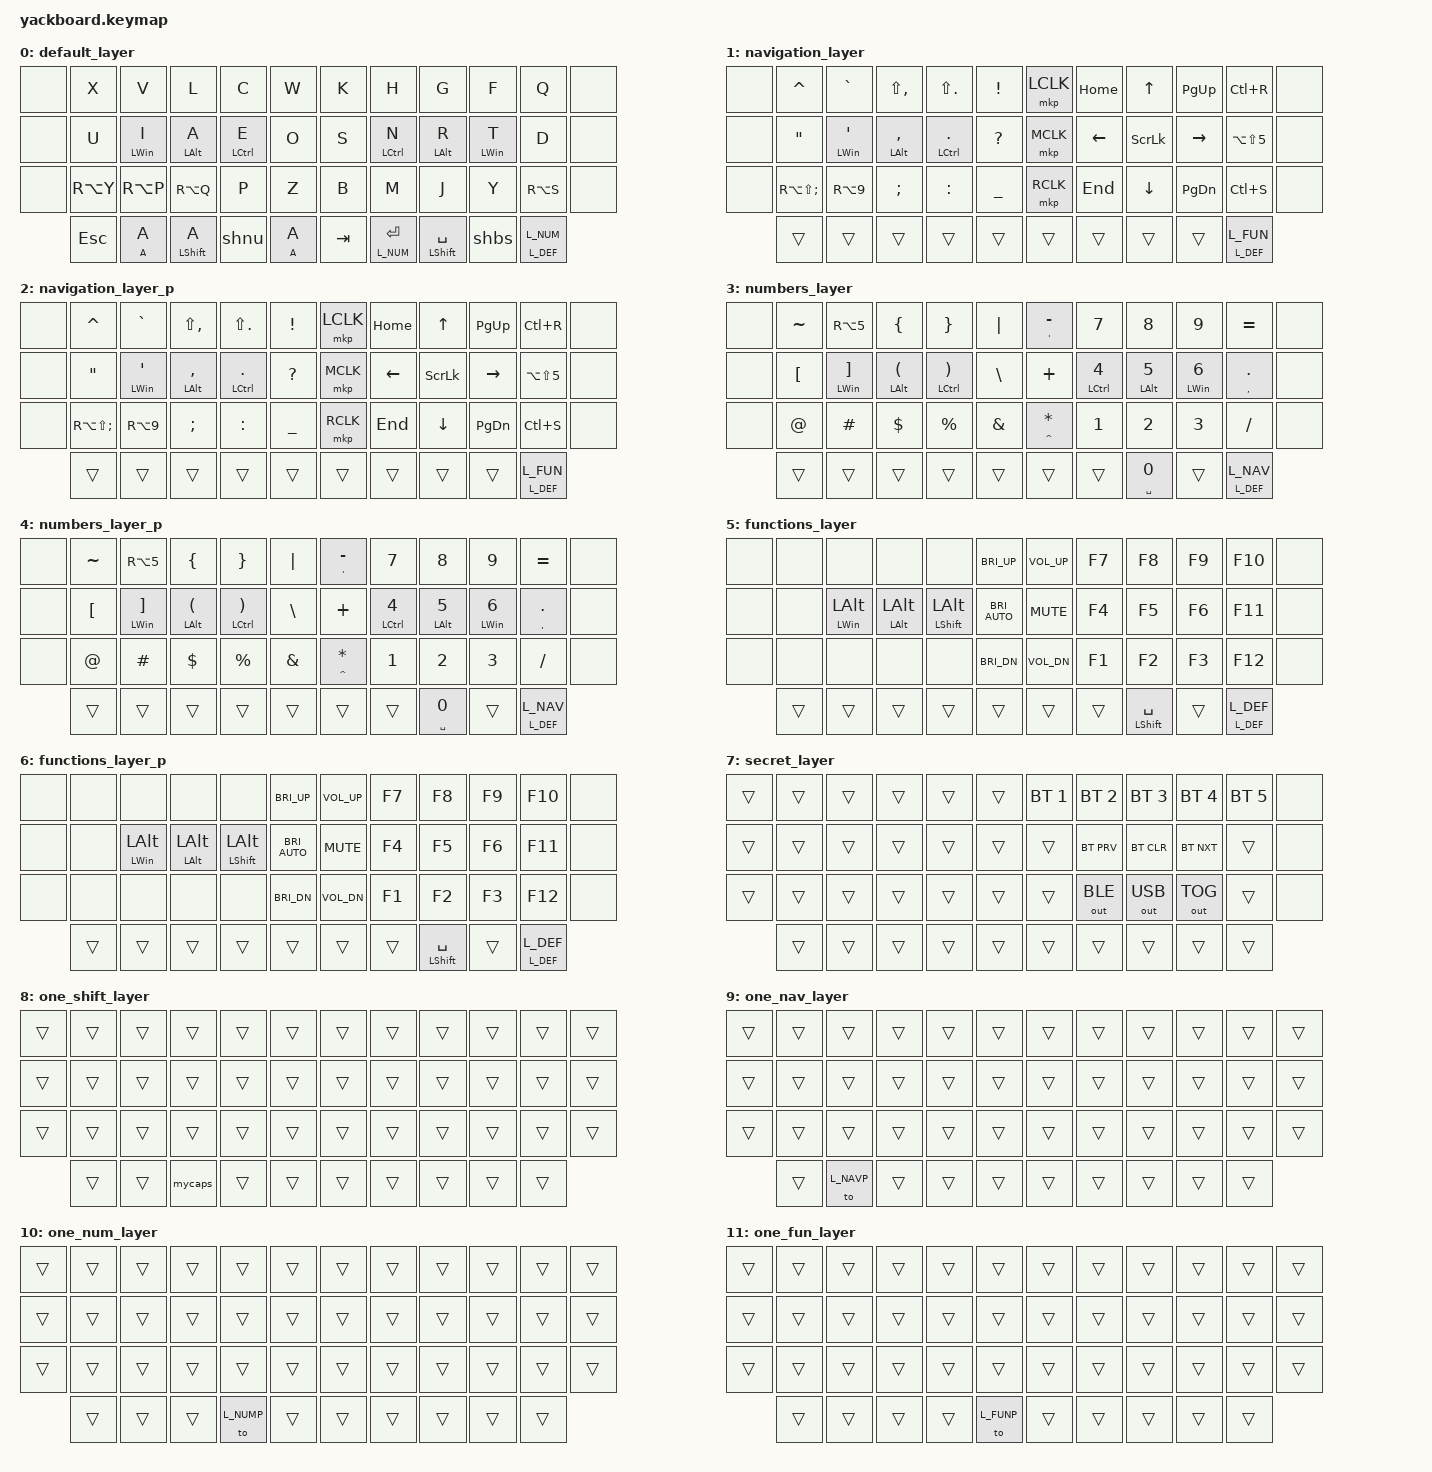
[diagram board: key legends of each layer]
#include <behaviors.dtsi>
#include <dt-bindings/zmk/keys.h>
#include <dt-bindings/zmk/mouse.h>   // This is required when using &mkp mouse key events.
#include <dt-bindings/zmk/bt.h>      // This is required when using &bt bluetooth commands.
#include <dt-bindings/zmk/outputs.h> // This is required when using the &out output commands.

// The dedicated shift key has got the following behaviour:
// - if held down, it is the shift modifier
// - if held down, but no other key is tapped, it reverts to the default layer (note that this requires the custom retro-tap patch of https://github.com/nickconway/zmk/tree/retro-tap-binding)
// - if tapped once, it is a one-shot shift, i.e. applies shift to the subsequent key
// - if tapped twice, it is my flavour of caps word, i.e. it capitalizes the subsequent word (including the underscore)
//
// This is implemented as follows:
// - first, there is a hold-tap with hold the LSHFT and tap the following sticky key; it has a custom retro-tap behaviour which resets the layer to default
// - the sticky key produces a one-shot version of a macro that applies the following two modifiers
// - the shift modifier (for the one-shot shift) and the momentarily applied special layer L_ONE_SHF (which does nothing other than modifying the behaviour of the shift key)
// - on the special layer L_ONE_SHF the shift key is my flavour of caps-word - otherwise that layer is transparent

/ {
  macros {
    macro_shf: macro_layer_and_shift { // this macro applies the two modifiers when the shift key is tapped for the first time
      compatible = "zmk,behavior-macro";
      label = "MACRO_LAYER_AND_SHIFT";
      #binding-cells = <0>;
      wait-ms = <0>;
      tap-ms = <1>;
      bindings
      = <&macro_press   &mo L_ONE_SHF &kp LSHFT>
      , <&macro_pause_for_release>
      , <&macro_release &mo L_ONE_SHF &kp LSHFT>
      ;
    };
  };

  behaviors {
    sticky_shift: sticky_layer_and_shift { // this is the sticky behaviour of the macro when the dedicated shift key is pressed for the first time
      compatible = "zmk,behavior-sticky-key";
      label = "STICKY_LAYER_AND_SHIFT";
      #binding-cells = <1>;
      release-after-ms = <1000>;
      bindings = <&macro_shf>;
      ignore-modifiers;
    };
    hold_shift: hold_tap_shift { // this is the hold-tap for the dedicated shift key
      compatible = "zmk,behavior-hold-tap";
      label = "HOLD_TAP_SHIFT";
      #binding-cells = <2>;
      flavor = "balanced";
      retro-tap;
      retro-tap-behavior = "TO_LAYER"; // this requiree the custom retro-tap patch; note that the alternative behaviour is defined using control strings such as this
      retro-tap-param1 = <L_DEF>;
      tapping-term-ms = <200>;
      bindings = <&kp>, <&sticky_shift>;
    };
    mycaps: behavior_my_caps_word { // my version of Caps Word includes the underscore as a letter.
      compatible = "zmk,behavior-caps-word";
      label = "MY_CAPS";
      #binding-cells = <0>;
      continue-list = <UNDER>;
    };
  };
};

// The layer switch keys under the left thumb have got the following behaviour:
// - if held down, it is the momentary layer change; regardless of the initial layer, the layer is reset to default afterwards
// - if held down, but no other key is tapped, it reverts to the default layer
// - if tapped once, it is a one-shot layer change
// - if tapped twice, it switches to that layer
//
// This is implemented as follows:
// - first, there is a hold-tap with hold a macro and tap a sticky key with that macro
// - the sticky key produces a one-shot version of that macro
// - the macro first deactivates all layers except for the default, and then momentarily switches to the desired layer and also activates
//   the special layer L_ONE_xxx that modifies the layer switch key in order to detect a second tap
// - on the special layer L_ONE_xxx the layer switch key is modified accordingly; note that the key that is modified on that layer, switches to
//   a layer that L_xxxP that is identical but has a different number - otherwise releasing the sticky key would reset the layer that we
//   intend to switch to

/ {
  macros {
    macro_nav: macro_layer_and_nav { // this macro applies the two momentary layers when the navigation layer key is tapped for the first time or held
      compatible = "zmk,behavior-macro";
      label = "MACRO_LAYER_AND_NAV";
      #binding-cells = <0>;
      wait-ms = <0>;
      tap-ms = <1>;
      bindings
      = <&macro_press   &to L_DEF &mo L_NAV &mo L_ONE_NAV>
      , <&macro_pause_for_release>
      , <&macro_release &to L_DEF &mo L_NAV &mo L_ONE_NAV>
      ;
    };
  };

  behaviors {
    sticky_nav: sticky_layer_and_nav { // this is the sticky behaviour of the macro when the navigation layer key is tapped for the first time or held
      compatible = "zmk,behavior-sticky-key";
      label = "STICKY_LAYER_AND_NAV";
      #binding-cells = <1>;
      release-after-ms = <1000>;
      bindings = <&macro_nav>;
      ignore-modifiers;
    };
    hold_nav: hold_tap_nav { // this is the hold-tap for the navigation layer key
      compatible = "zmk,behavior-hold-tap";
      label = "HOLD_TAP_NAV";
      #binding-cells = <2>;
      flavor = "balanced";
      tapping-term-ms = <200>;
      bindings = <&macro_nav>, <&sticky_nav>;
    };
  };
};

/ {
  macros {
    macro_num: macro_layer_and_num { // this macro applies the two momentary layers when the number layer key is tapped for the first time or held
      compatible = "zmk,behavior-macro";
      label = "MACRO_LAYER_AND_NUM";
      #binding-cells = <0>;
      wait-ms = <0>;
      tap-ms = <1>;
      bindings
      = <&macro_press   &to L_DEF &mo L_NUM &mo L_ONE_NUM>
      , <&macro_pause_for_release>
      , <&macro_release &to L_DEF &mo L_NUM &mo L_ONE_NUM>
      ;
    };
  };

  behaviors {
    sticky_num: sticky_layer_and_num { // this is the sticky behaviour of the macro when the number layer key is tapped for the first time or held
      compatible = "zmk,behavior-sticky-key";
      label = "STICKY_LAYER_AND_NUM";
      #binding-cells = <1>;
      release-after-ms = <1000>;
      bindings = <&macro_num>;
      ignore-modifiers;
    };
    hold_num: hold_tap_num { // this is the hold-tap for the number layer key
      compatible = "zmk,behavior-hold-tap";
      label = "HOLD_TAP_NUM";
      #binding-cells = <2>;
      flavor = "balanced";
      tapping-term-ms = <200>;
      bindings = <&macro_num>, <&sticky_num>;
    };
    shnu: shift_numbers { // the [L-1] number layer key with [Shift] switches to the secret layer.
      compatible = "zmk,behavior-mod-morph";
      label = "SHIFT_NUMBERS";
      #binding-cells = <0>;
      bindings = <&hold_num A A>, <&mo L_BLE>;
      mods = <(MOD_LSFT|MOD_RSFT)>;
      keep-mods = <(MOD_LSFT|MOD_RSFT)>;
    };
  };
};

/ {
  macros {
    macro_fun: macro_layer_and_fun { // this macro applies the two momentary layers when the function layer key is tapped for the first time or held
      compatible = "zmk,behavior-macro";
      label = "MACRO_LAYER_AND_FUN";
      #binding-cells = <0>;
      wait-ms = <0>;
      tap-ms = <1>;
      bindings
      = <&macro_press   &to L_DEF &mo L_ONE_FUN &mo L_FUN>
      , <&macro_pause_for_release>
      , <&macro_release &to L_DEF &mo L_ONE_FUN &mo L_FUN>
      ;
    };
  };

  behaviors {
    sticky_fun: sticky_layer_and_fun { // this is the sticky behaviour of the macro when the functionn layer key is tapped for the first time or held
      compatible = "zmk,behavior-sticky-key";
      label = "STICKY_LAYER_AND_FUN";
      #binding-cells = <1>;
      release-after-ms = <1000>;
      bindings = <&macro_fun>;
      ignore-modifiers;
    };
    hold_fun: hold_tap_fun { // this is the hold-tap for the function layer key
      compatible = "zmk,behavior-hold-tap";
      label = "HOLD_TAP_FUN";
      #binding-cells = <2>;
      flavor = "balanced";
      tapping-term-ms = <200>;
      bindings = <&macro_fun>, <&sticky_fun>;
    };
  };
};

// the following behaviours are used in the keymap

/ {
  behaviors {
    shbs: shift_backspace { // the backspace key with [Shift] is [Del]
      compatible = "zmk,behavior-mod-morph";
      label = "SHIFT_BACKSPACE";
      #binding-cells = <0>;
      bindings = <&htl L_NAV BSPC>, <&kp DEL>;
      mods = <(MOD_LSFT|MOD_RSFT)>;
    };
    htl: hold_tap_right_layer { // the thumb keys on the right half have a layer switch function when held down
      compatible = "zmk,behavior-hold-tap";
      label = "HOLD_TAP_RIGHT_LAYER";
      #binding-cells = <2>;
      flavor = "tap-unless-interrupted";
      tapping-term-ms = <400>;
      retro-tap;
      quick-tap-ms = <200>;
      bindings = <&mo>, <&kp>;
    };
    hts: hold_tap_right_shift { // the central thumb key on the right half serves as shift when held down
      compatible = "zmk,behavior-hold-tap";
      label = "HOLD_TAP_RIGHT_SHIFT";
      #binding-cells = <2>;
      flavor = "tap-unless-interrupted";
      tapping-term-ms = <400>;
      retro-tap;
      quick-tap-ms = <200>;
      bindings = <&kp>, <&kp>;
    };
    ht: hold_tap_general { // the central thumb key on the right half serves as shift when held down
      compatible = "zmk,behavior-hold-tap";
      label = "HOLD_TAP_GENERAL";
      #binding-cells = <2>;
      flavor = "balanced";
      tapping-term-ms = <200>;
      bindings = <&kp>, <&kp>;
    };
    ltt: layer_to_tap { // the layer switch key on the right half is &to if tapped and &to if held down
      compatible = "zmk,behavior-hold-tap";
      label = "LAYER_TO_TAP";
      #binding-cells = <2>;
      tapping-term-ms = <200>;
      bindings = <&to>, <&to>;
    };
    moht: modifier_hold_tap { // the home row modifiers use the following specialization of &ht.
      compatible = "zmk,behavior-hold-tap";
      label = "MODIFIER_HOLD_TAP";
      #binding-cells = <2>;
      flavor = "tap-unless-interrupted";
      tapping-term-ms = <400>;
      retro-tap;
      quick-tap-ms = <200>;
      bindings = <&kp>, <&kp>;
    };
  };
};

/ {
  keymap {
    compatible = "zmk,keymap";

// +-------+-------+-------+-------+-------+-------+       +-------+-------+-------+-------+-------+-------+
// |       |       |       |       |       |       |       |       |       |       |       |       |       |
// +-------+-------+-------+-------+-------+-------+       +-------+-------+-------+-------+-------+-------+
// |       |       |       |       |       |       |       |       |       |       |       |       |       |
// +-------+-------+-------+-------+-------+-------+       +-------+-------+-------+-------+-------+-------+
// |       |       |       |       |       |       |       |       |       |       |       |       |       |
// +-------+-------+-------+-------+-------+-------+       +-------+-------+-------+-------+-------+-------+
//         |       |       |       |       |       |       |       |       |       |       |       |
//         +-------+-------+-------+-------+-------+       +-------+-------+-------+-------+-------+

    default_layer { // #define L_DEF 0


      bindings = <
    &none  &kp X            &kp V            &kp   L             &kp C            &kp W          &kp K          &kp H          &kp G            &kp F           &kp Q            &none
    &none  &kp U            &moht LWIN I     &moht LALT A        &moht LCTRL E    &kp O          &kp S          &moht LCTRL N  &moht LALT R     &moht LWIN T    &kp D            &none
    &none  &kp RA(Y)        &kp RA(P)        &kp   RA(Q)         &kp P            &kp Z          &kp B          &kp M          &kp J            &kp Y           &kp RA(S)        &none
           &kp ESC          &hold_nav A A    &hold_shift LSHFT A &shnu            &hold_fun A A  &kp TAB        &htl L_NUM RET &hts LSHFT SPACE &shbs           &ltt L_DEF L_NUM
        >;
    };

    navigation_layer { // #define L_NAV 1
      bindings = <
    &none  &kp CARET        &kp GRAVE        &kp LS(COMMA)       &kp LS(DOT)      &kp EXCL       &mkp LCLK      &kp HOME       &kp UP           &kp PG_UP       &kp LC(R)        &none
    &none  &kp DQT          &moht LWIN APOS  &moht LALT COMMA    &moht LCTRL DOT  &kp QMARK      &mkp MCLK      &kp LEFT       &kp SLCK         &kp RIGHT       &kp LA(LS(N5))   &none
    &none  &kp RA(LS(SEMI)) &kp RA(N9)       &kp SEMI            &kp COLON        &kp UNDER      &mkp RCLK      &kp END        &kp DOWN         &kp PG_DN       &kp LC(S)        &none
           &trans           &trans           &trans              &trans           &trans         &trans         &trans         &trans           &trans          &ltt L_DEF L_FUN
      >;
    };

    navigation_layer_p { // #define L_NAVP 2 (identical, but different number)
      bindings = <
    &none  &kp CARET        &kp GRAVE        &kp LS(COMMA)       &kp LS(DOT)      &kp EXCL       &mkp LCLK      &kp HOME       &kp UP           &kp PG_UP       &kp LC(R)        &none
    &none  &kp DQT          &moht LWIN APOS  &moht LALT COMMA    &moht LCTRL DOT  &kp QMARK      &mkp MCLK      &kp LEFT       &kp SLCK         &kp RIGHT       &kp LA(LS(N5))   &none
    &none  &kp RA(LS(SEMI)) &kp RA(N9)       &kp SEMI            &kp COLON        &kp UNDER      &mkp RCLK      &kp END        &kp DOWN         &kp PG_DN       &kp LC(S)        &none
           &trans           &trans           &trans              &trans           &trans         &trans         &trans         &trans           &trans          &ltt L_DEF L_FUN
      >;
    };

    numbers_layer { // #define L_NUM 3
      bindings = <
    &none  &kp TILDE        &kp RA(N5)      &kp LBRC            &kp RBRC         &kp PIPE        &ht APOS MINUS &kp N7         &kp N8           &kp N9          &kp EQUAL        &none
    &none  &kp LBKT         &moht LWIN RBKT &moht LALT LPAR     &moht LCTRL RPAR &kp BSLH        &kp PLUS       &moht LCTRL N4 &moht LALT N5    &moht LWIN N6   &ht COMMA DOT    &none
    &none  &kp AT           &kp HASH        &kp DLLR            &kp PRCNT        &kp AMPS        &ht CARET STAR &kp N1         &kp N2           &kp N3          &kp SLASH        &none
           &trans           &trans          &trans              &trans           &trans          &trans         &trans         &hts SPACE N0    &trans          &ltt L_DEF L_NAV
      >;
    };

    numbers_layer_p { // #define L_NUMP 4 (identical, but different number)
      bindings = <
    &none  &kp TILDE        &kp RA(N5)      &kp LBRC            &kp RBRC         &kp PIPE        &ht APOS MINUS &kp N7         &kp N8           &kp N9          &kp EQUAL        &none
    &none  &kp LBKT         &moht LWIN RBKT &moht LALT LPAR     &moht LCTRL RPAR &kp BSLH        &kp PLUS       &moht LCTRL N4 &moht LALT N5    &moht LWIN N6   &ht COMMA DOT    &none
    &none  &kp AT           &kp HASH        &kp DLLR            &kp PRCNT        &kp AMPS        &ht CARET STAR &kp N1         &kp N2           &kp N3          &kp SLASH        &none
           &trans           &trans          &trans              &trans           &trans          &trans         &trans         &hts SPACE N0    &trans          &ltt L_DEF L_NAV
      >;
    };

    functions_layer { // #define L_FUN 5
      bindings = <
    &none  &none            &none           &none               &none            &kp C_BRI_UP    &kp K_VOL_UP   &kp F7         &kp F8           &kp F9          &kp F10          &none
    &none  &none            &moht LWIN LALT &moht LALT LALT     &moht LSHFT LALT &kp C_BRI_AUTO  &kp K_MUTE     &kp F4         &kp F5           &kp F6          &kp F11          &none
    &none  &none            &none           &none               &none            &kp C_BRI_DN    &kp K_VOL_DN   &kp F1         &kp F2           &kp F3          &kp F12          &none
           &trans           &trans          &trans              &trans           &trans          &trans         &trans         &hts LSHFT SPACE &trans          &ltt L_DEF L_DEF
      >;
    };

    functions_layer_p { // #define L_FUNP 6 (identical, but different number)
      bindings = <
    &none  &none            &none           &none               &none            &kp C_BRI_UP    &kp K_VOL_UP   &kp F7         &kp F8           &kp F9          &kp F10          &none
    &none  &none            &moht LWIN LALT &moht LALT LALT     &moht LSHFT LALT &kp C_BRI_AUTO  &kp K_MUTE     &kp F4         &kp F5           &kp F6          &kp F11          &none
    &none  &none            &none           &none               &none            &kp C_BRI_DN    &kp K_VOL_DN   &kp F1         &kp F2           &kp F3          &kp F12          &none
           &trans           &trans          &trans              &trans           &trans          &trans         &trans         &hts LSHFT SPACE &trans          &ltt L_DEF L_DEF
      >;
    };

    secret_layer { // #define L_BLE 7
      bindings = <
    &trans &trans           &trans          &trans              &trans           &trans          &bt BT_SEL 1   &bt BT_SEL 2   &bt BT_SEL 3     &bt BT_SEL 4    &bt BT_SEL 5     &none
    &trans &trans           &trans          &trans              &trans           &trans          &trans         &bt BT_PRV     &bt BT_CLR       &bt BT_NXT      &trans           &none
    &trans &trans           &trans          &trans              &trans           &trans          &trans         &out OUT_BLE   &out OUT_USB     &out OUT_TOG    &trans           &none
           &trans           &trans          &trans              &trans           &trans          &trans         &trans         &trans           &trans          &trans
      >;
    };

    one_shift_layer { // #define L_ONE_SHF 8
      bindings = <
    &trans &trans           &trans          &trans              &trans           &trans          &trans         &trans         &trans           &trans          &trans           &trans
    &trans &trans           &trans          &trans              &trans           &trans          &trans         &trans         &trans           &trans          &trans           &trans
    &trans &trans           &trans          &trans              &trans           &trans          &trans         &trans         &trans           &trans          &trans           &trans
           &trans           &trans          &mycaps             &trans           &trans          &trans         &trans         &trans           &trans          &trans
      >;
    };

    one_nav_layer { // #define L_ONE_NAV 9
      bindings = <
    &trans &trans           &trans          &trans              &trans           &trans          &trans         &trans         &trans           &trans          &trans           &trans
    &trans &trans           &trans          &trans              &trans           &trans          &trans         &trans         &trans           &trans          &trans           &trans
    &trans &trans           &trans          &trans              &trans           &trans          &trans         &trans         &trans           &trans          &trans           &trans
           &trans           &to L_NAVP      &trans              &trans           &trans          &trans         &trans         &trans           &trans          &trans
      >;
    };

    one_num_layer { // #define L_ONE_NUM 10
      bindings = <
    &trans &trans           &trans          &trans              &trans           &trans          &trans         &trans         &trans           &trans          &trans           &trans
    &trans &trans           &trans          &trans              &trans           &trans          &trans         &trans         &trans           &trans          &trans           &trans
    &trans &trans           &trans          &trans              &trans           &trans          &trans         &trans         &trans           &trans          &trans           &trans
           &trans           &trans          &trans              &to L_NUMP       &trans          &trans         &trans         &trans           &trans          &trans
      >;
    };

    one_fun_layer { // #define L_ONE_FUN 11
      bindings = <
    &trans &trans           &trans          &trans              &trans           &trans          &trans         &trans         &trans           &trans          &trans           &trans
    &trans &trans           &trans          &trans              &trans           &trans          &trans         &trans         &trans           &trans          &trans           &trans
    &trans &trans           &trans          &trans              &trans           &trans          &trans         &trans         &trans           &trans          &trans           &trans
           &trans           &trans          &trans              &trans           &to L_FUNP      &trans         &trans         &trans           &trans          &trans
      >;
    };
  };
};
